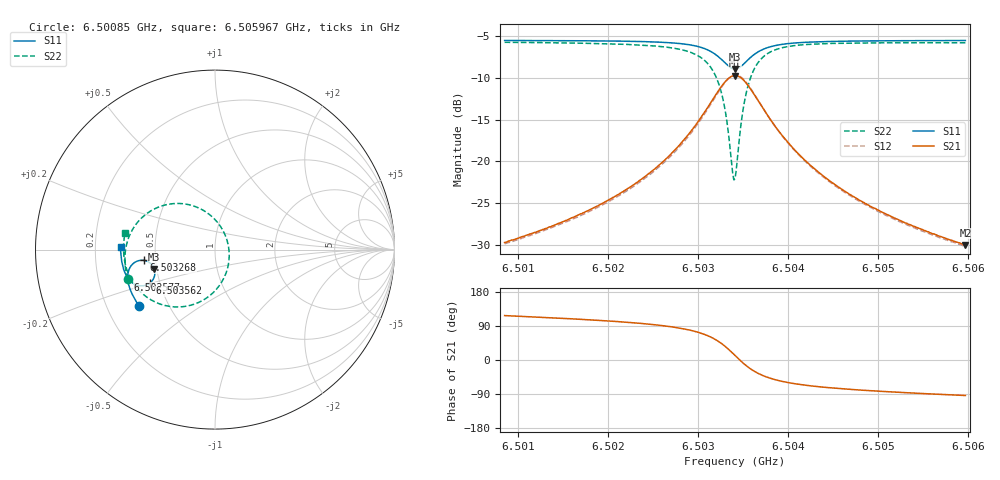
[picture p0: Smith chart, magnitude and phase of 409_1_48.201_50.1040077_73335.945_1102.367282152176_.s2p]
#  HZ  S  RI  R  50.00
! Rohde & Schwarz Vector Network Analyzer
! Rohde-Schwarz,ZNB20-2Port,1311601062101988,3.16
! Created: UTC 3/20/2024, 11:54:21 AM
! freq[Hz]  re:S11  im:S11  re:S21  im:S21  re:S12  im:S12  re:S22  im:S22
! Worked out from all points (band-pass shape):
!   401 points, 6.50085 GHz to 6.505967 GHz, reference 50 ohm
!   highest |S21| = -9.75 dB at 6.503408 GHz (marker M1); lowest = -29.9 dB at 6.505967 GHz (marker M2)
!   |S21| within 3 dB of the highest: 6.503153 GHz to 6.503665 GHz (511.9 kHz wide, 0.00787 % of centre)
!   lowest |S11| = -9.0 dB at 6.503408 GHz (marker M3), VSWR 2.10, Z = 24.2 - j6.02 ohm
!   |S11| at or under -10 dB: nowhere
!   |S22| runs from -22.2 to -5.8 dB; largest |S21 - S12| = 0.011
!   S11 on the Smith chart (normalised r, x): 6.50085 GHz: 0.34, -0.30; 6.502577 GHz: 0.33, -0.15; 6.503268 GHz: 0.43, -0.06; 6.503562 GHz: 0.44, -0.20; 6.505967 GHz: 0.31, +0.01
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6.5008499e9  -0.4216 -0.3154  -0.015 0.0292  -0.0133 0.0295  -0.4865 -0.1636
6.501707e9  -0.4591 -0.2529  -0.0144 0.0467  -0.0122 0.0464  -0.5015 -0.0742
6.5021803e9  -0.4762 -0.2115  -0.0116 0.066  -0.00882 0.0649  -0.4993 -0.00811
6.502564e9  -0.4856 -0.1697  -0.003 0.095  0.000484 0.0927  -0.481 0.0668
6.5025768e9  -0.4858 -0.1681  -0.00249 0.0962  0.00118 0.094  -0.4798 0.07
6.5028198e9  -0.4852 -0.133  0.0156 0.1293  0.0196 0.1255  -0.4415 0.1393
6.5029989e9  -0.4738 -0.0998  0.0501 0.1655  0.0535 0.16  -0.3737 0.2052
6.5031652e9  -0.4392 -0.0668  0.1272 0.1987  0.1285 0.1924  -0.2323 0.2561
6.5032675e9  -0.3968 -0.0598  0.2121 0.1902  0.2123 0.1849  -0.0848 0.2291
6.5033187e9  -0.3713 -0.0682  0.2601 0.1626  0.2609 0.1581  -0.00475 0.1723
6.5033827e9  -0.3447 -0.0944  0.3078 0.0999  0.3103 0.095  0.0672 0.0519
6.5034082e9  -0.3383 -0.1086  0.3182 0.068  0.3212 0.0623  0.0784 -0.00752
6.5034338e9  -0.3352 -0.1242  0.3221 0.0347  0.3253 0.028  0.077 -0.0682
6.5034978e9  -0.3421 -0.161  0.3045 -0.0426  0.3066 -0.0523  0.023 -0.2022
6.5035617e9  -0.3629 -0.1867  0.2625 -0.0964  0.2614 -0.1074  -0.0719 -0.285
6.5036641e9  -0.402 -0.202  0.1886 -0.1328  0.1835 -0.142  -0.2204 -0.3195
6.5038304e9  -0.4478 -0.1925  0.1077 -0.1302  0.1009 -0.135  -0.3664 -0.2738
6.5040094e9  -0.4753 -0.1711  0.0636 -0.1104  0.0575 -0.1126  -0.4379 -0.2097
6.5042653e9  -0.496 -0.1411  0.0338 -0.0866  0.0292 -0.087  -0.4812 -0.1382
6.5046362e9  -0.5112 -0.1028  0.0152 -0.0643  0.0121 -0.0639  -0.5032 -0.0659
6.5051223e9  -0.521 -0.0581  0.00502 -0.0473  0.0029 -0.0466  -0.5098 0.00184
6.5059666e9  -0.5259 0.0132  -0.00206 -0.0317  -0.00332 -0.0311  -0.5019 0.0902
